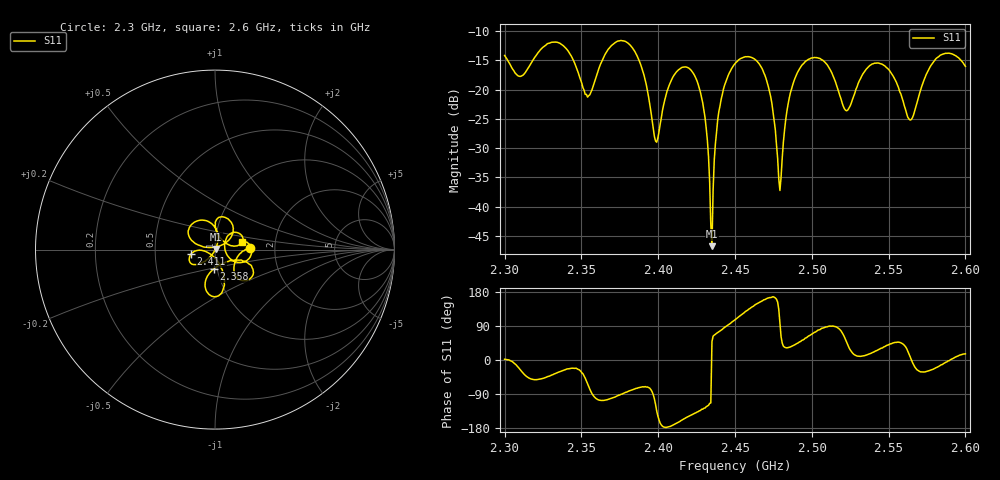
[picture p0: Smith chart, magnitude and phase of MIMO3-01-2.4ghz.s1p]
! NanoVNA-App
! Date: 2026-05-22 19:19:15
! Start: 2.3GHz Stop: 2.6GHz Points: 401
! S-Parameter data: F S11
# Hz S RI R 50
!  Frequency  S11_Real  S11_Imag
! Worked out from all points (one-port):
!   401 points, 2.3 GHz to 2.6 GHz, reference 50 ohm
!   lowest |S11| = -46.8 dB at 2.435 GHz (marker M1), VSWR 1.01, Z = 50.3 + j0.345 ohm
!   |S11| at or under -10 dB: start of sweep to end of sweep
!   S11 on the Smith chart (normalised r, x): 2.3 GHz: 1.49, +0.02; 2.358 GHz: 0.96, -0.21; 2.411 GHz: 0.76, -0.04; 2.6 GHz: 1.35, +0.12
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2.3e9  0.1958 0.00677
2.3105e9  0.1153 -0.0598
2.3375e9  0.2126 -0.115
2.35325e9  0.0521 -0.0748
2.35775e9  -0.00749 -0.1079
2.375e9  -0.0103 -0.2615
2.38775e9  0.052 -0.1671
2.399e9  -0.0247 -0.0255
2.411e9  -0.1343 -0.0262
2.4125e9  -0.14 -0.0357
2.42675e9  -0.0715 -0.0737
2.4305e9  -0.0344 -0.0462
2.4335e9  -0.00675 -0.0148
2.435e9  0.00304 0.00343
2.438e9  0.0145 0.0408
2.44025e9  0.0169 0.0707
2.45e9  -0.0462 0.1604
2.46875e9  -0.1299 0.0503
2.474e9  -0.074 0.019
2.47925e9  -0.00145 0.0136
2.4875e9  0.087 0.0655
2.50475e9  0.0334 0.1823
2.525e9  0.0648 0.0326
2.54375e9  0.1489 0.0785
2.5535e9  0.0888 0.0905
2.5625e9  0.0533 0.023
2.582e9  0.1792 -0.0595
2.6e9  0.1517 0.0442
